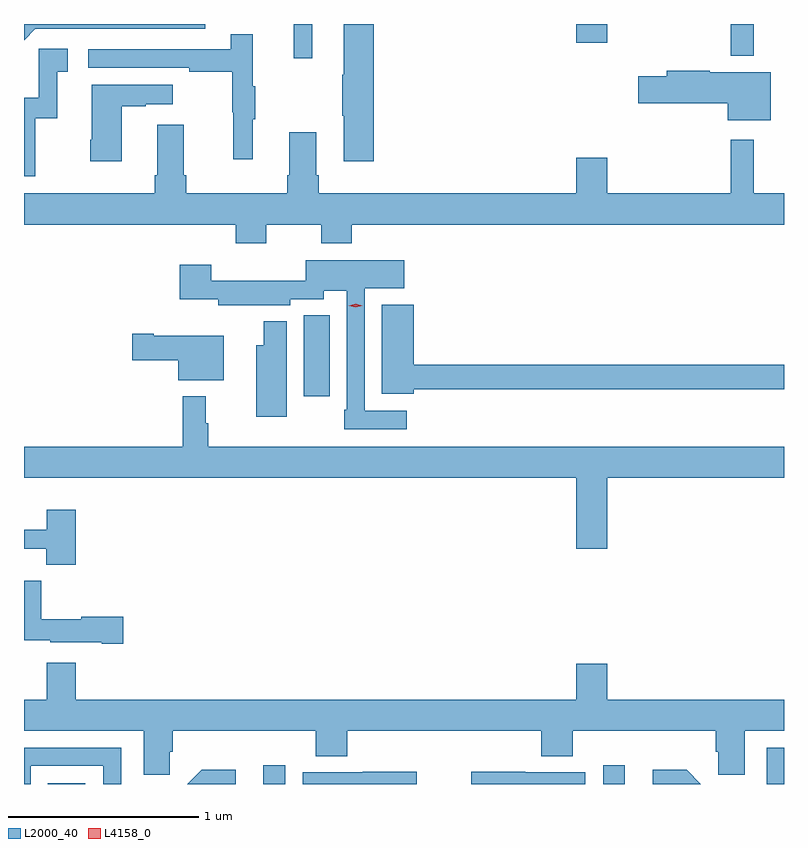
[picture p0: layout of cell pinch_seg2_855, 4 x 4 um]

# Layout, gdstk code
import gdstk
lib = gdstk.Library(unit=1e-6, precision=1e-09)
def R(c, l, rs):  # rectangles x0, y0, x1, y1
    for r in rs: c.add(gdstk.rectangle(r[:2], r[2:], *l))
def P(c, l, *ps):  # polygons
    for p in ps: c.add(gdstk.Polygon(p, *l))
L2000_40 = (2000, 40)
L4158_0 = (4158, 0)

pinch_seg2_855 = lib.new_cell('pinch_seg2_855')
R(pinch_seg2_855, L2000_40, [(581.806,603.4,582.004,603.403), (582.941,603.4,583.056,603.499), (584.73,603.4,584.845,603.499), (585.591,603.4,585.682,603.591), (583.154,605.442,583.291,605.867), (583.101,607.221,583.198,607.4), (584.588,607.302,584.752,607.4)])
P(pinch_seg2_855, L2000_40, [(583.523,607.4),(583.364,607.4),(583.364,607.133),(583.357,607.133),(583.357,606.916),(583.364,606.916),(583.364,606.678),(583.523,606.678)],
  [(581.742,607.374),(582.636,607.374),(582.636,607.4),(581.682,607.4),(581.682,607.314)],
  [(585.523,607.4),(585.402,607.4),(585.402,607.339),(585.403,607.339),(585.403,607.232),(585.523,607.232)],
  [(582.887,606.899),(582.898,606.899),(582.898,607.073),(582.887,607.073),(582.887,607.345),(582.769,607.345),(582.769,607.266),(582.021,607.266),(582.021,607.17),(582.553,607.17),(582.553,607.15),(582.777,607.15),(582.777,606.936),(582.784,606.936),(582.784,606.687),(582.887,606.687)],
  [(581.74,606.903),(581.858,606.903),(581.858,607.149),(581.911,607.149),(581.911,607.27),(581.76,607.27),(581.76,607.011),(581.682,607.011),(581.682,606.6),(581.74,606.6)],
  [(585.613,607.147),(585.29,607.147),(585.29,607.154),(585.065,607.154),(585.065,607.124),(584.916,607.124),(584.916,606.982),(585.386,606.982),(585.386,606.893),(585.613,606.893)],
  [(582.196,606.967),(582.323,606.967),(582.323,606.977),(582.466,606.977),(582.466,607.081),(582.038,607.081),(582.038,606.79),(582.031,606.79),(582.031,606.678),(582.196,606.678)],
  [(582.957,606.344),(583.246,606.344),(583.246,606.245),(583.406,606.245),(583.406,606.344),(585.682,606.344),(585.682,606.508),(585.523,606.508),(585.523,606.79),(585.402,606.79),(585.402,606.508),(584.752,606.508),(584.752,606.697),(584.588,606.697),(584.588,606.508),(583.232,606.508),(583.232,606.604),(583.219,606.604),(583.219,606.829),(583.079,606.829),(583.079,606.604),(583.067,606.604),(583.067,606.508),(582.536,606.508),(582.536,606.604),(582.523,606.604),(582.523,606.871),(582.383,606.871),(582.383,606.604),(582.371,606.604),(582.371,606.508),(581.682,606.508),(581.682,606.344),(582.797,606.344),(582.797,606.245),(582.957,606.245)],
  [(583.696,605.364),(583.476,605.364),(583.476,606.008),(583.684,606.008),(583.684,606.157),(583.164,606.157),(583.164,606.049),(582.668,606.049),(582.668,606.133),(582.503,606.133),(582.503,605.951),(582.704,605.951),(582.704,605.921),(583.084,605.921),(583.084,605.952),(583.26,605.952),(583.26,605.996),(583.38,605.996),(583.38,605.371),(583.368,605.371),(583.368,605.268),(583.696,605.268)],
  [(583.732,605.478),(585.682,605.478),(585.682,605.606),(583.732,605.606),(583.732,605.923),(583.565,605.923),(583.565,605.453),(583.732,605.453)],
  [(583.066,605.836),(582.944,605.836),(582.944,605.71),(582.905,605.71),(582.905,605.333),(583.066,605.333)],
  [(582.733,605.758),(582.364,605.758),(582.364,605.771),(582.252,605.771),(582.252,605.629),(582.494,605.629),(582.494,605.525),(582.733,605.525)],
  [(584.752,605.012),(585.682,605.012),(585.682,605.176),(582.653,605.176),(582.653,605.3),(582.638,605.3),(582.638,605.44),(582.517,605.44),(582.517,605.176),(581.682,605.176),(581.682,605.012),(584.588,605.012),(584.588,604.638),(584.752,604.638)],
  [(581.954,604.843),(581.801,604.843),(581.801,604.737),(581.682,604.737),(581.682,604.638),(581.799,604.638),(581.799,604.553),(581.954,604.553)],
  [(582.205,604.28),(581.982,604.28),(581.982,604.267),(581.774,604.267),(581.774,604.471),(581.682,604.471),(581.682,604.157),(581.82,604.157),(581.82,604.145),(582.092,604.145),(582.092,604.138),(582.205,604.138)],
  [(582.45,603.571),(582.464,603.571),(582.464,603.68),(583.217,603.68),(583.217,603.547),(583.382,603.547),(583.382,603.68),(584.405,603.68),(584.405,603.547),(584.57,603.547),(584.57,603.68),(585.323,603.68),(585.323,603.571),(585.336,603.571),(585.336,603.448),(585.475,603.448),(585.475,603.68),(585.682,603.68),(585.682,603.844),(584.752,603.844),(584.752,604.033),(584.588,604.033),(584.588,603.844),(581.954,603.844),(581.954,604.039),(581.801,604.039),(581.801,603.844),(581.682,603.844),(581.682,603.68),(582.311,603.68),(582.311,603.448),(582.45,603.448)],
  [(581.718,603.495),(582.099,603.495),(582.099,603.4),(582.195,603.4),(582.195,603.591),(581.682,603.591),(581.682,603.4),(581.718,603.4)],
  [(585.169,603.476),(584.991,603.476),(584.991,603.4),(585.245,603.4)],
  [(582.796,603.476),(582.617,603.476),(582.541,603.4),(582.796,603.4)],
  [(584.637,603.462),(584.321,603.462),(584.321,603.464),(584.037,603.464),(584.037,603.4),(584.637,603.4)],
  [(583.75,603.464),(583.465,603.464),(583.465,603.462),(583.149,603.462),(583.149,603.4),(583.75,603.4)])
P(pinch_seg2_855, L4158_0, [(583.427,605.908),(583.392,605.918),(583.392,605.918),(583.392,605.918),(583.427,605.928),(583.462,605.918),(583.462,605.918),(583.462,605.918)])

lib.write_gds('pinch_seg2_855.gds')
